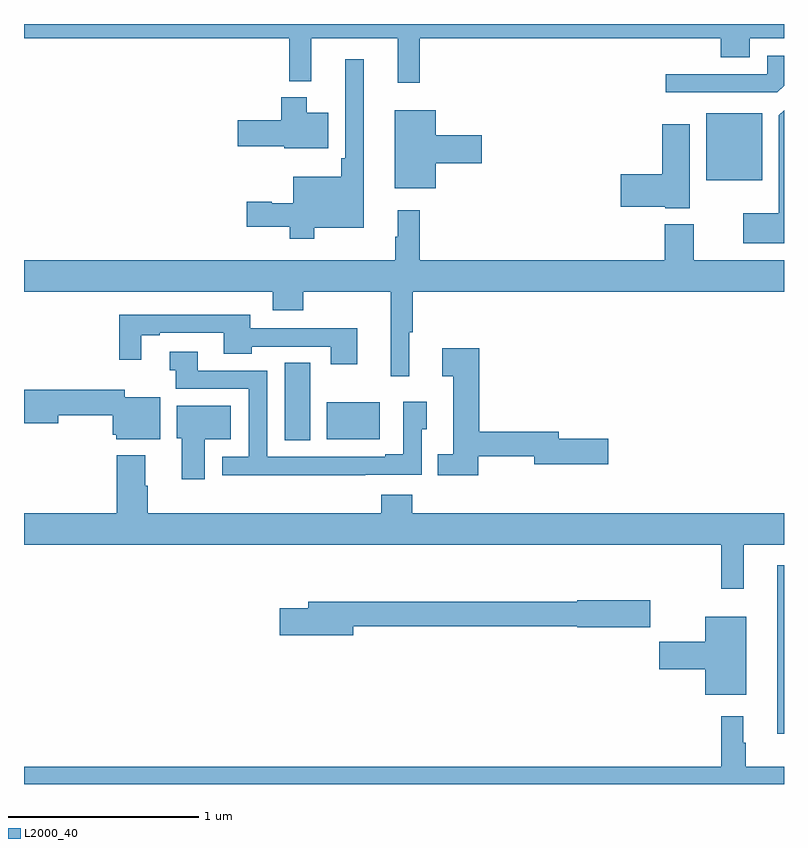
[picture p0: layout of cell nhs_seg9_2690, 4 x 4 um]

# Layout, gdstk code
import gdstk
lib = gdstk.Library(unit=1e-6, precision=1e-09)
def R(c, l, rs):  # rectangles x0, y0, x1, y1
    for r in rs: c.add(gdstk.rectangle(r[:2], r[2:], *l))
def P(c, l, *ps):  # polygons
    for p in ps: c.add(gdstk.Polygon(p, *l))
L2000_40 = (2000, 40)

nhs_seg9_2690 = lib.new_cell('nhs_seg9_2690')
R(nhs_seg9_2690, L2000_40, [(268.964,1188.764,269,1189.651), (266.372,1190.308,266.506,1190.717), (266.594,1190.315,266.872,1190.509), (268.592,1191.677,268.885,1192.03)])
P(nhs_seg9_2690, L2000_40, [(267.083,1192.424),(268.667,1192.424),(268.667,1192.325),(268.819,1192.325),(268.819,1192.424),(269,1192.424),(269,1192.5),(265,1192.5),(265,1192.424),(266.395,1192.424),(266.395,1192.199),(266.513,1192.199),(266.513,1192.424),(266.966,1192.424),(266.966,1192.191),(267.083,1192.191)],
  [(269,1192.175),(269,1192.332),(268.911,1192.332),(268.911,1192.236),(268.377,1192.236),(268.377,1192.14),(268.965,1192.14)],
  [(266.527,1191.428),(266.788,1191.428),(266.788,1192.315),(266.691,1192.315),(266.691,1191.793),(266.671,1191.793),(266.671,1191.697),(266.417,1191.697),(266.417,1191.556),(266.303,1191.556),(266.303,1191.564),(266.172,1191.564),(266.172,1191.434),(266.398,1191.434),(266.398,1191.371),(266.527,1191.371)],
  [(266.602,1192.033),(266.488,1192.033),(266.488,1192.114),(266.354,1192.114),(266.354,1191.993),(266.124,1191.993),(266.124,1191.856),(266.37,1191.856),(266.37,1191.845),(266.602,1191.845)],
  [(269,1192.046),(268.973,1192.019),(268.973,1191.505),(268.785,1191.505),(268.785,1191.347),(269,1191.347)],
  [(267.166,1191.767),(267.409,1191.767),(267.409,1191.914),(267.166,1191.914),(267.166,1192.045),(266.951,1192.045),(266.951,1191.635),(267.166,1191.635)],
  [(268.504,1191.973),(268.358,1191.973),(268.358,1191.71),(268.14,1191.71),(268.14,1191.539),(268.374,1191.539),(268.374,1191.53),(268.504,1191.53)],
  [(265,1191.092),(266.309,1191.092),(266.309,1190.993),(266.469,1190.993),(266.469,1191.092),(266.93,1191.092),(266.93,1190.646),(267.028,1190.646),(267.028,1190.877),(267.047,1190.877),(267.047,1191.092),(269,1191.092),(269,1191.256),(268.525,1191.256),(268.525,1191.445),(268.373,1191.445),(268.373,1191.256),(267.083,1191.256),(267.083,1191.52),(266.966,1191.52),(266.966,1191.38),(266.955,1191.38),(266.955,1191.256),(265,1191.256)],
  [(266.755,1190.898),(266.191,1190.898),(266.191,1190.97),(265.501,1190.97),(265.501,1190.733),(265.618,1190.733),(265.618,1190.862),(265.714,1190.862),(265.714,1190.874),(266.051,1190.874),(266.051,1190.765),(266.199,1190.765),(266.199,1190.802),(266.615,1190.802),(266.615,1190.709),(266.755,1190.709)],
  [(267.39,1190.226),(267.686,1190.226),(267.686,1190.183),(268.075,1190.183),(268.075,1190.318),(267.814,1190.318),(267.814,1190.354),(267.395,1190.354),(267.395,1190.794),(267.201,1190.794),(267.201,1190.647),(267.26,1190.647),(267.26,1190.236),(267.178,1190.236),(267.178,1190.126),(267.39,1190.126)],
  [(266.795,1190.127),(267.093,1190.127),(267.093,1190.367),(267.121,1190.367),(267.121,1190.512),(266.997,1190.512),(266.997,1190.236),(266.9,1190.236),(266.9,1190.223),(266.28,1190.223),(266.28,1190.676),(265.915,1190.676),(265.915,1190.775),(265.767,1190.775),(265.767,1190.678),(265.798,1190.678),(265.798,1190.58),(266.184,1190.58),(266.184,1190.223),(266.043,1190.223),(266.043,1190.126),(266.795,1190.126)],
  [(265.717,1190.536),(265.53,1190.536),(265.53,1190.576),(265,1190.576),(265,1190.398),(265.18,1190.398),(265.18,1190.44),(265.466,1190.44),(265.466,1190.337),(265.485,1190.337),(265.485,1190.315),(265.717,1190.315)],
  [(265.951,1190.315),(266.089,1190.315),(266.089,1190.491),(265.805,1190.491),(265.805,1190.319),(265.829,1190.319),(265.829,1190.103),(265.951,1190.103)],
  [(268.787,1189.76),(269,1189.76),(269,1189.924),(267.044,1189.924),(267.044,1190.023),(266.879,1190.023),(266.879,1189.924),(265.652,1189.924),(265.652,1190.069),(265.639,1190.069),(265.639,1190.23),(265.487,1190.23),(265.487,1189.924),(265,1189.924),(265,1189.76),(268.669,1189.76),(268.669,1189.527),(268.787,1189.527)],
  [(266.734,1189.33),(267.912,1189.33),(267.912,1189.325),(268.297,1189.325),(268.297,1189.467),(267.912,1189.467),(267.912,1189.459),(266.495,1189.459),(266.495,1189.425),(266.346,1189.425),(266.346,1189.283),(266.734,1189.283)],
  [(268.801,1189.381),(268.586,1189.381),(268.586,1189.25),(268.344,1189.25),(268.344,1189.103),(268.586,1189.103),(268.586,1188.971),(268.801,1188.971)],
  [(269,1188.592),(268.798,1188.592),(268.798,1188.716),(268.786,1188.716),(268.786,1188.856),(268.669,1188.856),(268.669,1188.592),(265,1188.592),(265,1188.5),(269,1188.5)])

lib.write_gds('nhs_seg9_2690.gds')
